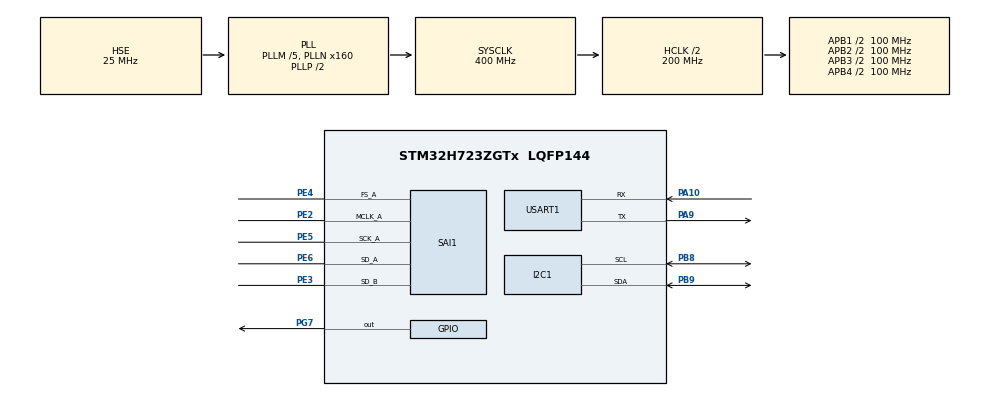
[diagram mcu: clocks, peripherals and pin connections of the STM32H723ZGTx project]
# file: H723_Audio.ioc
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Dma.Request0=SAI1_A
Dma.Request1=SAI1_B
Dma.SAI1_A.0.Direction=DMA_PERIPH_TO_MEMORY
Dma.SAI1_A.0.EventEnable=DISABLE
Dma.SAI1_A.0.FIFOMode=DMA_FIFOMODE_DISABLE
Dma.SAI1_A.0.Instance=DMA1_Stream0
Dma.SAI1_A.0.MemDataAlignment=DMA_MDATAALIGN_WORD
Dma.SAI1_A.0.MemInc=DMA_MINC_ENABLE
Dma.SAI1_A.0.Mode=DMA_CIRCULAR
Dma.SAI1_A.0.PeriphDataAlignment=DMA_PDATAALIGN_WORD
Dma.SAI1_A.0.PeriphInc=DMA_PINC_DISABLE
Dma.SAI1_A.0.Polarity=HAL_DMAMUX_REQ_GEN_RISING
Dma.SAI1_A.0.Priority=DMA_PRIORITY_HIGH
Dma.SAI1_A.0.RequestNumber=1
Dma.SAI1_A.0.SignalID=NONE
Dma.SAI1_A.0.SyncEnable=DISABLE
Dma.SAI1_A.0.SyncPolarity=HAL_DMAMUX_SYNC_NO_EVENT
Dma.SAI1_A.0.SyncRequestNumber=1
Dma.SAI1_A.0.SyncSignalID=NONE
Dma.SAI1_B.1.Direction=DMA_MEMORY_TO_PERIPH
Dma.SAI1_B.1.EventEnable=DISABLE
Dma.SAI1_B.1.FIFOMode=DMA_FIFOMODE_DISABLE
Dma.SAI1_B.1.Instance=DMA1_Stream1
Dma.SAI1_B.1.MemDataAlignment=DMA_MDATAALIGN_WORD
Dma.SAI1_B.1.MemInc=DMA_MINC_ENABLE
Dma.SAI1_B.1.Mode=DMA_CIRCULAR
Dma.SAI1_B.1.PeriphDataAlignment=DMA_PDATAALIGN_WORD
Dma.SAI1_B.1.PeriphInc=DMA_PINC_DISABLE
Dma.SAI1_B.1.Polarity=HAL_DMAMUX_REQ_GEN_RISING
Dma.SAI1_B.1.Priority=DMA_PRIORITY_HIGH
Dma.SAI1_B.1.RequestNumber=1
Dma.SAI1_B.1.SignalID=NONE
Dma.SAI1_B.1.SyncEnable=DISABLE
Dma.SAI1_B.1.SyncPolarity=HAL_DMAMUX_SYNC_NO_EVENT
Dma.SAI1_B.1.SyncRequestNumber=1
Dma.SAI1_B.1.SyncSignalID=NONE
I2C1.Timing=0x10C0ECFF
Mcu.Family=STM32H7
Mcu.Name=STM32H723ZGTx
Mcu.Package=LQFP144
NVIC.DMA1_Stream0_IRQn=true\:0\:0\:false\:false\:true\:false\:true\:true
NVIC.DMA1_Stream1_IRQn=true\:0\:0\:false\:false\:true\:false\:true\:true
NVIC.PriorityGroup=NVIC_PRIORITYGROUP_4
PA10.Mode=Asynchronous
PA10.Signal=USART1_RX
PA9.Mode=Asynchronous
PA9.Signal=USART1_TX
PB8.Mode=I2C
PB8.Signal=I2C1_SCL
PB9.Mode=I2C
PB9.Signal=I2C1_SDA
PE2.Mode=SAI_A_MasterWithClock
PE2.Signal=SAI1_MCLK_A
PE3.Mode=SAI_B_SyncSlave
PE3.Signal=SAI1_SD_B
PE4.Mode=SAI_A_MasterWithClock
PE4.Signal=SAI1_FS_A
PE5.Mode=SAI_A_MasterWithClock
PE5.Signal=SAI1_SCK_A
PE6.Mode=SAI_A_MasterWithClock
PE6.Signal=SAI1_SD_A
PG7.Signal=GPIO_Output
PH0-OSC_IN.Mode=HSE-External-Oscillator
PH0-OSC_IN.Signal=RCC_OSC_IN
PH1-OSC_OUT.Mode=HSE-External-Oscillator
PH1-OSC_OUT.Signal=RCC_OSC_OUT
ProjectManager.HeapSize=0x200
ProjectManager.StackSize=0x400
ProjectManager.TargetToolchain=STM32CubeIDE
RCC.ADCFreq_Value=49151992.79785156
RCC.APB1Freq_Value=100000000
RCC.APB2Freq_Value=100000000
RCC.APB3Freq_Value=100000000
RCC.APB4Freq_Value=100000000
RCC.CortexFreq_Value=400000000
RCC.D1PPRE=RCC_APB3_DIV2
RCC.D2PPRE1=RCC_APB1_DIV2
RCC.D2PPRE2=RCC_APB2_DIV2
RCC.D3PPRE=RCC_APB4_DIV2
RCC.DIVM1=5
RCC.DIVM2=6
RCC.DIVN1=160
RCC.DIVN2=47
RCC.DIVP2=4
RCC.HCLKFreq_Value=200000000
RCC.HPRE=RCC_HCLK_DIV2
RCC.HSE_VALUE=25000000
RCC.PLL2FRACN=1523
RCC.PLL3FRACN=0
RCC.PLLFRACN=0
RCC.PLLSourceVirtual=RCC_PLLSOURCE_HSE
RCC.SAI1CLockSelection=RCC_SAI1CLKSOURCE_PLL2
RCC.SYSCLKFreq_VALUE=400000000
RCC.SYSCLKSource=RCC_SYSCLKSOURCE_PLLCLK
RCC.USBFreq_Value=400000000
SAI1.AudioFrequency-SAI_A_MasterWithClock=SAI_AUDIO_FREQUENCY_48K
SAI1.AudioMode-SAI_A_MasterWithClock=SAI_MODEMASTER_RX
SAI1.AudioMode-SAI_B_SyncSlave=SAI_MODESLAVE_TX
SAI1.BasicDataSize-SAI_A_MasterWithClock=SAI_PROTOCOL_DATASIZE_24BIT
SAI1.BasicDataSize-SAI_B_SyncSlave=SAI_PROTOCOL_DATASIZE_24BIT
SAI1.ErrorAudioFreq-SAI_A_MasterWithClock=0.0 %
SAI1.InitProtocol-SAI_A_MasterWithClock=Enable
SAI1.InitProtocol-SAI_B_SyncSlave=Enable
SAI1.Instance-SAI_A_MasterWithClock=SAI$Index_Block_A
SAI1.Instance-SAI_B_SyncSlave=SAI$Index_Block_B
SAI1.MckOutput-SAI_A_MasterWithClock=SAI_MCK_OUTPUT_ENABLE
SAI1.OutputDrive-SAI_A_MasterWithClock=SAI_OUTPUTDRIVE_ENABLE
SAI1.RealAudioFreq-SAI_A_MasterWithClock=47.999 KHz
SAI1.VirtualMode-SAI_A_MasterWithClock=VM_MASTER
SAI1.VirtualMode-SAI_B_SyncSlave=VM_SLAVE
SAI1.VirtualProtocol-SAI_A_BASIC=VM_BASIC_PROTOCOL
SAI1.VirtualProtocol-SAI_B_BASIC=VM_BASIC_PROTOCOL
USART1.VirtualMode-Asynchronous=VM_ASYNC
VP_MEMORYMAP_VS_MEMORYMAP.Mode=CurAppReg
VP_SAI1_VP_$IpInstance_SAIA_SAI_BASIC.Mode=SAI_A_BASIC
VP_SAI1_VP_$IpInstance_SAIB_SAI_BASIC.Mode=SAI_B_BASIC
board=custom

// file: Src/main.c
/* USER CODE BEGIN Header */
/**
  ******************************************************************************
  * @file           : main.c
  * @brief          : Main program body
  ******************************************************************************
  * @attention
  *
  * Copyright (c) 2026 STMicroelectronics.
  * All rights reserved.
  *
  * This software is licensed under terms that can be found in the LICENSE file
  * in the root directory of this software component.
  * If no LICENSE file comes with this software, it is provided AS-IS.
  *
  ******************************************************************************
  */
/* USER CODE END Header */
#include "main.h"

/* USER CODE BEGIN Includes */
#include "stdio.h"
#include "ssd1306.h"
#include "ssd1306_fonts.h"
/* USER CODE END Includes */

I2C_HandleTypeDef hi2c1;

SAI_HandleTypeDef hsai_BlockA1;
SAI_HandleTypeDef hsai_BlockB1;
DMA_HandleTypeDef hdma_sai1_a;
DMA_HandleTypeDef hdma_sai1_b;

UART_HandleTypeDef huart1;

/* USER CODE BEGIN PV */
#define AUDIO_WORDS 512U
#define AUDIO_HALF_WORDS 256U
static uint32_t adc_buffer[AUDIO_WORDS] __attribute__((aligned(32)));
static uint32_t dac_buffer[AUDIO_WORDS] __attribute__((aligned(32)));
static volatile uint32_t audio_rx_ready, audio_tx_free;
volatile uint32_t audio_deadline_misses, audio_error;

/* USER CODE END PV */

void SystemClock_Config(void);
void PeriphCommonClock_Config(void);
static void MX_GPIO_Init(void);
static void MX_DMA_Init(void);
static void MX_SAI1_Init(void);
static void MX_USART1_UART_Init(void);
static void MX_I2C1_Init(void);

/* USER CODE BEGIN 0 */

// send log message via UART
int __io_putchar(int ch)
{
    uint8_t byte = (uint8_t)ch;
    HAL_UART_Transmit(&huart1, &byte, 1, 100);
    return ch;
}

/* Burst diagnostic: keep receiving through ADC startup, stop before UART output.
 * This deliberately restarts the clocks each burst; it is not a recorder.
 */

//static int32_t signed24(uint32_t word)
//{
//    uint32_t value = word & 0x00FFFFFFu;
//
//    return (value & 0x00800000u)
//        ? (int32_t)value - 16777216
//        : (int32_t)value;
//}

//static void adc_diagnostic(uint32_t *buffer, uint16_t words)
//{
//    HAL_StatusTypeDef status = HAL_OK;
//    uint32_t blocks = 0;
//    uint32_t start = HAL_GetTick();
//
//    /* Allow digital startup plus input coupling and high-pass filter settling.
//     * The previous 300 ms capture still showed a large decaying DC transient.
//     * Drain the FIFO continuously, rather than delaying with SAI running.
//     */
//    do
//    {
//        status = HAL_SAI_Receive(&hsai_BlockA1, (uint8_t *)buffer, words, 100);
//        ++blocks;
//    } while (status == HAL_OK && (HAL_GetTick() - start) < 3000U);
//
//    uint32_t sr = hsai_BlockA1.Instance->SR;
//    uint32_t error = hsai_BlockA1.ErrorCode;
//    HAL_StatusTypeDef stopped = HAL_SAI_Abort(&hsai_BlockA1);
//    printf("ADC status=%d stop=%d blocks=%lu error=%08lX SR=%08lX overrun=%u\r\n",
//           (int)status, (int)stopped, (unsigned long)blocks,
//           (unsigned long)error, (unsigned long)sr,
//           (unsigned int)((sr & SAI_FLAG_OVRUDR) != 0U));
//    if (stopped != HAL_OK)
//    {
//        Error_Handler();
//    }
//    if (status != HAL_OK)
//    {
//        return;
//    }
//
//    for (uint32_t channel = 0; channel < 2U; ++channel)
//    {
//        int32_t minimum = 8388607;
//        int32_t maximum = -8388608;
//        uint32_t zeros = 0;
//        uint32_t ones = 0;
//        uint32_t clipped = 0;
//        for (uint32_t i = channel; i < words; i += 2U)
//        {
//            int32_t value = signed24(buffer[i]);
//            if (value < minimum) minimum = value;
//            if (value > maximum) maximum = value;
//            if (value == 0) ++zeros;
//            if (value == -1) ++ones;
//            if (value == -8388608 || value == 8388607) ++clipped;
//        }
//        printf("%c min=%ld max=%ld pp=%ld zero=%lu minus1=%lu clipped=%lu / %u\r\n",
//               channel == 0U ? 'L' : 'R', (long)minimum, (long)maximum,
//               (long)(maximum - minimum), (unsigned long)zeros,
//               (unsigned long)ones, (unsigned long)clipped,
//               (unsigned int)(words / 2U));
//    }
//    for (uint32_t frame = 192; frame < 200; ++frame)
//    {
//        printf("raw %08lX,%08lX signed %ld,%ld\r\n",
//               (unsigned long)buffer[2U * frame],
//               (unsigned long)buffer[2U * frame + 1U],
//               (long)signed24(buffer[2U * frame]),
//               (long)signed24(buffer[2U * frame + 1U]));
//    }
//}

/* USER CODE END 0 */

int main(void)
{

  /* MCU Configuration--------------------------------------------------------*/

  /* Reset of all peripherals, Initializes the Flash interface and the Systick. */
  HAL_Init();

  /* Configure the system clock */
  SystemClock_Config();

  /* Configure the peripherals common clocks */
  PeriphCommonClock_Config();

  /* Initialize all configured peripherals */
  MX_GPIO_Init();
  MX_DMA_Init();
  MX_SAI1_Init();
  MX_USART1_UART_Init();
  MX_I2C1_Init();
  /* USER CODE BEGIN 2 */

  setvbuf(stdout, NULL, _IONBF, 0);

  /* OLED settings */
  HAL_Delay(100);  // Allow the OLED supply to settle

  if (HAL_I2C_IsDeviceReady(&hi2c1, (0x3C << 1), 3, 100) == HAL_OK)
  {
      printf("OLED detected\r\n");

      ssd1306_Init();
      ssd1306_Fill(Black);

      ssd1306_SetCursor(0, 0);
      ssd1306_WriteString("Hello STM32!", Font_7x10, White);

      ssd1306_SetCursor(0, 16);
      ssd1306_WriteString("H723 + OLED", Font_7x10, White);

      ssd1306_UpdateScreen();
  }
  else
  {
      printf("OLED not detected at 0x3C\r\n");
  }

  /* Separate aligned buffers live in RAM_D1 through the linker .bss section.
   * Prevent dirty CPU cache lines from overwriting incoming DMA data.
   */
  if ((SCB->CCR & SCB_CCR_DC_Msk) != 0U)
  {
      SCB_CleanInvalidateDCache_by_Addr(adc_buffer, sizeof(adc_buffer));
      SCB_CleanDCache_by_Addr(dac_buffer, sizeof(dac_buffer));
  }
  __DSB();
  HAL_NVIC_SetPriority(SAI1_IRQn, 1, 0);
  HAL_NVIC_EnableIRQ(SAI1_IRQn);

  /* Start once: TX preloads silence before RX master starts shared clocks. */
  if (HAL_SAI_Transmit_DMA(&hsai_BlockB1, (uint8_t *)dac_buffer,
                           AUDIO_WORDS) != HAL_OK) Error_Handler();
  if (HAL_SAI_Receive_DMA(&hsai_BlockA1, (uint8_t *)adc_buffer,
                          AUDIO_WORDS) != HAL_OK) Error_Handler();

  /* USER CODE END 2 */

  while (1)
  {
    /* USER CODE BEGIN 3 */
    if (audio_error != 0U) Error_Handler();
    __WFI();
  }
  /* USER CODE END 3 */
}

void SystemClock_Config(void)
{
  RCC_OscInitTypeDef RCC_OscInitStruct = {0};
  RCC_ClkInitTypeDef RCC_ClkInitStruct = {0};

  /** Supply configuration update enable
  */
  HAL_PWREx_ConfigSupply(PWR_LDO_SUPPLY);

  /** Configure the main internal regulator output voltage
  */
  __HAL_PWR_VOLTAGESCALING_CONFIG(PWR_REGULATOR_VOLTAGE_SCALE1);

  while(!__HAL_PWR_GET_FLAG(PWR_FLAG_VOSRDY)) {}

  /** Initializes the RCC Oscillators according to the specified parameters
  * in the RCC_OscInitTypeDef structure.
  */
  RCC_OscInitStruct.OscillatorType = RCC_OSCILLATORTYPE_HSE;
  RCC_OscInitStruct.HSEState = RCC_HSE_ON;
  RCC_OscInitStruct.PLL.PLLState = RCC_PLL_ON;
  RCC_OscInitStruct.PLL.PLLSource = RCC_PLLSOURCE_HSE;
  RCC_OscInitStruct.PLL.PLLM = 5;
  RCC_OscInitStruct.PLL.PLLN = 160;
  RCC_OscInitStruct.PLL.PLLP = 2;
  RCC_OscInitStruct.PLL.PLLQ = 2;
  RCC_OscInitStruct.PLL.PLLR = 2;
  RCC_OscInitStruct.PLL.PLLRGE = RCC_PLL1VCIRANGE_2;
  RCC_OscInitStruct.PLL.PLLVCOSEL = RCC_PLL1VCOWIDE;
  RCC_OscInitStruct.PLL.PLLFRACN = 0;
  if (HAL_RCC_OscConfig(&RCC_OscInitStruct) != HAL_OK)
  {
    Error_Handler();
  }

  /** Initializes the CPU, AHB and APB buses clocks
  */
  RCC_ClkInitStruct.ClockType = RCC_CLOCKTYPE_HCLK|RCC_CLOCKTYPE_SYSCLK
                              |RCC_CLOCKTYPE_PCLK1|RCC_CLOCKTYPE_PCLK2
                              |RCC_CLOCKTYPE_D3PCLK1|RCC_CLOCKTYPE_D1PCLK1;
  RCC_ClkInitStruct.SYSCLKSource = RCC_SYSCLKSOURCE_PLLCLK;
  RCC_ClkInitStruct.SYSCLKDivider = RCC_SYSCLK_DIV1;
  RCC_ClkInitStruct.AHBCLKDivider = RCC_HCLK_DIV2;
  RCC_ClkInitStruct.APB3CLKDivider = RCC_APB3_DIV2;
  RCC_ClkInitStruct.APB1CLKDivider = RCC_APB1_DIV2;
  RCC_ClkInitStruct.APB2CLKDivider = RCC_APB2_DIV2;
  RCC_ClkInitStruct.APB4CLKDivider = RCC_APB4_DIV2;

  if (HAL_RCC_ClockConfig(&RCC_ClkInitStruct, FLASH_LATENCY_2) != HAL_OK)
  {
    Error_Handler();
  }
}

void PeriphCommonClock_Config(void)
{
  RCC_PeriphCLKInitTypeDef PeriphClkInitStruct = {0};

  /** Initializes the peripherals clock
  */
  PeriphClkInitStruct.PeriphClockSelection = RCC_PERIPHCLK_SAI1;
  PeriphClkInitStruct.PLL2.PLL2M = 6;
  PeriphClkInitStruct.PLL2.PLL2N = 47;
  PeriphClkInitStruct.PLL2.PLL2P = 4;
  PeriphClkInitStruct.PLL2.PLL2Q = 2;
  PeriphClkInitStruct.PLL2.PLL2R = 2;
  PeriphClkInitStruct.PLL2.PLL2RGE = RCC_PLL2VCIRANGE_2;
  PeriphClkInitStruct.PLL2.PLL2VCOSEL = RCC_PLL2VCOWIDE;
  PeriphClkInitStruct.PLL2.PLL2FRACN = 1523;
  PeriphClkInitStruct.Sai1ClockSelection = RCC_SAI1CLKSOURCE_PLL2;
  if (HAL_RCCEx_PeriphCLKConfig(&PeriphClkInitStruct) != HAL_OK)
  {
    Error_Handler();
  }
}

static void MX_I2C1_Init(void)
{

  hi2c1.Instance = I2C1;
  hi2c1.Init.Timing = 0x10C0ECFF;
  hi2c1.Init.OwnAddress1 = 0;
  hi2c1.Init.AddressingMode = I2C_ADDRESSINGMODE_7BIT;
  hi2c1.Init.DualAddressMode = I2C_DUALADDRESS_DISABLE;
  hi2c1.Init.OwnAddress2 = 0;
  hi2c1.Init.OwnAddress2Masks = I2C_OA2_NOMASK;
  hi2c1.Init.GeneralCallMode = I2C_GENERALCALL_DISABLE;
  hi2c1.Init.NoStretchMode = I2C_NOSTRETCH_DISABLE;
  if (HAL_I2C_Init(&hi2c1) != HAL_OK)
  {
    Error_Handler();
  }

  /** Configure Analogue filter
  */
  if (HAL_I2CEx_ConfigAnalogFilter(&hi2c1, I2C_ANALOGFILTER_ENABLE) != HAL_OK)
  {
    Error_Handler();
  }

  /** Configure Digital filter
  */
  if (HAL_I2CEx_ConfigDigitalFilter(&hi2c1, 0) != HAL_OK)
  {
    Error_Handler();
  }

}

static void MX_SAI1_Init(void)
{

  hsai_BlockA1.Instance = SAI1_Block_A;
  hsai_BlockA1.Init.AudioMode = SAI_MODEMASTER_RX;
  hsai_BlockA1.Init.Synchro = SAI_ASYNCHRONOUS;
  hsai_BlockA1.Init.OutputDrive = SAI_OUTPUTDRIVE_ENABLE;
  hsai_BlockA1.Init.NoDivider = SAI_MASTERDIVIDER_ENABLE;
  hsai_BlockA1.Init.FIFOThreshold = SAI_FIFOTHRESHOLD_EMPTY;
  hsai_BlockA1.Init.AudioFrequency = SAI_AUDIO_FREQUENCY_48K;
  hsai_BlockA1.Init.SynchroExt = SAI_SYNCEXT_DISABLE;
  hsai_BlockA1.Init.MonoStereoMode = SAI_STEREOMODE;
  hsai_BlockA1.Init.CompandingMode = SAI_NOCOMPANDING;
  if (HAL_SAI_InitProtocol(&hsai_BlockA1, SAI_I2S_STANDARD, SAI_PROTOCOL_DATASIZE_24BIT, 2) != HAL_OK)
  {
    Error_Handler();
  }
  hsai_BlockB1.Instance = SAI1_Block_B;
  hsai_BlockB1.Init.AudioMode = SAI_MODESLAVE_TX;
  hsai_BlockB1.Init.Synchro = SAI_SYNCHRONOUS;
  hsai_BlockB1.Init.OutputDrive = SAI_OUTPUTDRIVE_DISABLE;
  hsai_BlockB1.Init.FIFOThreshold = SAI_FIFOTHRESHOLD_EMPTY;
  hsai_BlockB1.Init.SynchroExt = SAI_SYNCEXT_DISABLE;
  hsai_BlockB1.Init.MonoStereoMode = SAI_STEREOMODE;
  hsai_BlockB1.Init.CompandingMode = SAI_NOCOMPANDING;
  hsai_BlockB1.Init.TriState = SAI_OUTPUT_NOTRELEASED;
  if (HAL_SAI_InitProtocol(&hsai_BlockB1, SAI_I2S_STANDARD, SAI_PROTOCOL_DATASIZE_24BIT, 2) != HAL_OK)
  {
    Error_Handler();
  }
  /* USER CODE BEGIN SAI1_Init 2 */
  hsai_BlockA1.Init.MckOutput = SAI_MCK_OUTPUT_ENABLE;
  hsai_BlockA1.Init.MckOverSampling = SAI_MCK_OVERSAMPLING_DISABLE;
  if (HAL_SAI_Init(&hsai_BlockA1) != HAL_OK) Error_Handler();

  /* USER CODE END SAI1_Init 2 */

}

static void MX_USART1_UART_Init(void)
{

  huart1.Instance = USART1;
  huart1.Init.BaudRate = 115200;
  huart1.Init.WordLength = UART_WORDLENGTH_8B;
  huart1.Init.StopBits = UART_STOPBITS_1;
  huart1.Init.Parity = UART_PARITY_NONE;
  huart1.Init.Mode = UART_MODE_TX_RX;
  huart1.Init.HwFlowCtl = UART_HWCONTROL_NONE;
  huart1.Init.OverSampling = UART_OVERSAMPLING_16;
  huart1.Init.OneBitSampling = UART_ONE_BIT_SAMPLE_DISABLE;
  huart1.Init.ClockPrescaler = UART_PRESCALER_DIV1;
  huart1.AdvancedInit.AdvFeatureInit = UART_ADVFEATURE_NO_INIT;
  if (HAL_UART_Init(&huart1) != HAL_OK)
  {
    Error_Handler();
  }
  if (HAL_UARTEx_SetTxFifoThreshold(&huart1, UART_TXFIFO_THRESHOLD_1_8) != HAL_OK)
  {
    Error_Handler();
  }
  if (HAL_UARTEx_SetRxFifoThreshold(&huart1, UART_RXFIFO_THRESHOLD_1_8) != HAL_OK)
  {
    Error_Handler();
  }
  if (HAL_UARTEx_DisableFifoMode(&huart1) != HAL_OK)
  {
    Error_Handler();
  }

}

static void MX_DMA_Init(void)
{

  /* DMA controller clock enable */
  __HAL_RCC_DMA1_CLK_ENABLE();

  /* DMA interrupt init */
  /* DMA1_Stream0_IRQn interrupt configuration */
  HAL_NVIC_SetPriority(DMA1_Stream0_IRQn, 0, 0);
  HAL_NVIC_EnableIRQ(DMA1_Stream0_IRQn);
  /* DMA1_Stream1_IRQn interrupt configuration */
  HAL_NVIC_SetPriority(DMA1_Stream1_IRQn, 0, 0);
  HAL_NVIC_EnableIRQ(DMA1_Stream1_IRQn);
  /* DMAMUX1_OVR_IRQn interrupt configuration */
  HAL_NVIC_SetPriority(DMAMUX1_OVR_IRQn, 0, 0);
  HAL_NVIC_EnableIRQ(DMAMUX1_OVR_IRQn);

}

static void MX_GPIO_Init(void)
{
  GPIO_InitTypeDef GPIO_InitStruct = {0};

  /* GPIO Ports Clock Enable */
  __HAL_RCC_GPIOE_CLK_ENABLE();
  __HAL_RCC_GPIOH_CLK_ENABLE();
  __HAL_RCC_GPIOG_CLK_ENABLE();
  __HAL_RCC_GPIOA_CLK_ENABLE();
  __HAL_RCC_GPIOB_CLK_ENABLE();

  /*Configure GPIO pin Output Level */
  HAL_GPIO_WritePin(GPIOG, GPIO_PIN_7, GPIO_PIN_RESET);

  /*Configure GPIO pin : PG7 */
  GPIO_InitStruct.Pin = GPIO_PIN_7;
  GPIO_InitStruct.Mode = GPIO_MODE_OUTPUT_PP;
  GPIO_InitStruct.Pull = GPIO_NOPULL;
  GPIO_InitStruct.Speed = GPIO_SPEED_FREQ_LOW;
  HAL_GPIO_Init(GPIOG, &GPIO_InitStruct);

}

/* USER CODE BEGIN 4 */
/* Both DMA IRQs must have equal preemption priority. No blocking work here.
 * A half contains 128 stereo frames, giving about 2.67 ms to copy at 48 kHz.
 */
static void audio_copy_half(uint32_t half)
{
    uint32_t bit = 1U << half;
    if ((audio_rx_ready & audio_tx_free & bit) == 0U) return;
    uint32_t rx = __HAL_DMA_GET_COUNTER(&hdma_sai1_a);
    uint32_t tx = __HAL_DMA_GET_COUNTER(&hdma_sai1_b);
    /* Completed half must be inactive in BOTH circular DMA streams. */
    uint32_t safe = half == 0U
        ? (rx > 0U && rx <= AUDIO_HALF_WORDS && tx > 0U && tx <= AUDIO_HALF_WORDS)
        : (rx > AUDIO_HALF_WORDS && tx > AUDIO_HALF_WORDS);
    audio_rx_ready &= ~bit;
    audio_tx_free &= ~bit;
    if (!safe) { ++audio_deadline_misses; return; }
    uint32_t offset = half * AUDIO_HALF_WORDS;
    if ((SCB->CCR & SCB_CCR_DC_Msk) != 0U)
        SCB_InvalidateDCache_by_Addr(&adc_buffer[offset], AUDIO_HALF_WORDS * 4U);
    for (uint32_t i = 0; i < AUDIO_HALF_WORDS; ++i)
        dac_buffer[offset + i] = adc_buffer[offset + i];
    if ((SCB->CCR & SCB_CCR_DC_Msk) != 0U)
        SCB_CleanDCache_by_Addr(&dac_buffer[offset], AUDIO_HALF_WORDS * 4U);
    __DSB();
}

static void audio_rx_complete(uint32_t half)
{
    uint32_t expired = 1U << (half ^ 1U);
    if ((audio_rx_ready & expired) != 0U) ++audio_deadline_misses;
    audio_rx_ready = (audio_rx_ready & ~expired) | (1U << half);
    audio_copy_half(half);
}

static void audio_tx_complete(uint32_t half)
{
    /* Revoke permission for the half that TX has now started consuming. */
    audio_tx_free = (audio_tx_free & ~(1U << (half ^ 1U))) | (1U << half);
    audio_copy_half(half);
}

void HAL_SAI_RxHalfCpltCallback(SAI_HandleTypeDef *hsai)
{
    if (hsai == &hsai_BlockA1) audio_rx_complete(0U);
}
void HAL_SAI_RxCpltCallback(SAI_HandleTypeDef *hsai)
{
    if (hsai == &hsai_BlockA1) audio_rx_complete(1U);
}
void HAL_SAI_TxHalfCpltCallback(SAI_HandleTypeDef *hsai)
{
    if (hsai == &hsai_BlockB1) audio_tx_complete(0U);
}
void HAL_SAI_TxCpltCallback(SAI_HandleTypeDef *hsai)
{
    if (hsai == &hsai_BlockB1) audio_tx_complete(1U);
}
void HAL_SAI_ErrorCallback(SAI_HandleTypeDef *hsai)
{
    audio_error |= hsai->ErrorCode;
}

/* USER CODE END 4 */

void Error_Handler(void)
{
  __disable_irq();
  while (1)
  {
  }
}
